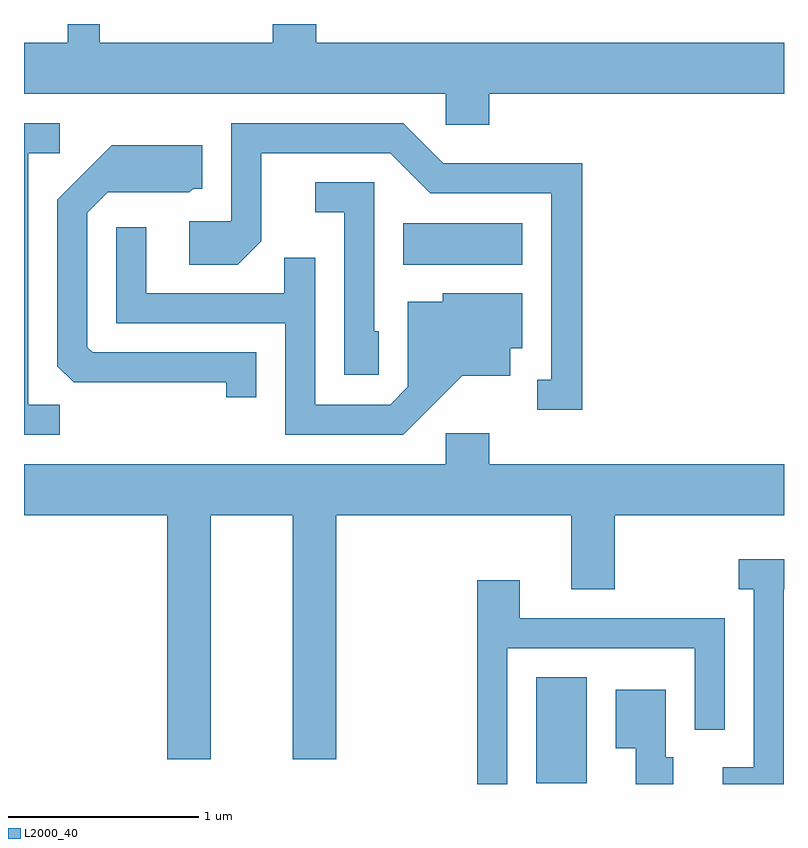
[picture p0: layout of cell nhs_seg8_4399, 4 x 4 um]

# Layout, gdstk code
import gdstk
lib = gdstk.Library(unit=1e-6, precision=1e-09)
def R(c, l, rs):  # rectangles x0, y0, x1, y1
    for r in rs: c.add(gdstk.rectangle(r[:2], r[2:], *l))
def P(c, l, *ps):  # polygons
    for p in ps: c.add(gdstk.Polygon(p, *l))
L2000_40 = (2000, 40)

nhs_seg8_4399 = lib.new_cell('nhs_seg8_4399')
R(nhs_seg8_4399, L2000_40, [(320.306,1828.346,320.574,1828.904), (319.606,1831.076,320.234,1831.294)])
P(nhs_seg8_4399, L2000_40, [(319.831,1831.811),(320.059,1831.811),(320.059,1831.976),(321.611,1831.976),(321.611,1832.244),(319.149,1832.244),(319.149,1832.342),(318.921,1832.342),(318.921,1832.244),(318.009,1832.244),(318.009,1832.342),(317.841,1832.342),(317.841,1832.244),(317.611,1832.244),(317.611,1831.976),(319.831,1831.976)],
  [(320.549,1831.609),(319.817,1831.609),(319.607,1831.819),(318.701,1831.819),(318.701,1831.304),(318.481,1831.304),(318.481,1831.076),(318.737,1831.076),(318.859,1831.199),(318.859,1831.661),(319.539,1831.661),(319.749,1831.451),(320.386,1831.451),(320.386,1830.469),(320.313,1830.469),(320.313,1830.311),(320.549,1830.311)],
  [(317.798,1830.339),(317.634,1830.339),(317.634,1831.661),(317.798,1831.661),(317.798,1831.819),(317.611,1831.819),(317.611,1830.181),(317.798,1830.181)],
  [(318.834,1830.614),(317.972,1830.614),(317.944,1830.642),(317.944,1831.349),(318.052,1831.456),(318.482,1831.456),(318.502,1831.476),(318.549,1831.476),(318.549,1831.704),(318.074,1831.704),(317.786,1831.417),(317.786,1830.542),(317.872,1830.456),(318.676,1830.456),(318.676,1830.378),(318.834,1830.378)],
  [(319.479,1830.724),(319.454,1830.724),(319.454,1831.509),(319.143,1831.509),(319.143,1831.351),(319.296,1831.351),(319.296,1830.496),(319.479,1830.496)],
  [(319.917,1830.491),(320.169,1830.491),(320.169,1830.636),(320.234,1830.636),(320.234,1830.924),(319.816,1830.924),(319.816,1830.879),(319.631,1830.879),(319.631,1830.432),(319.539,1830.339),(319.144,1830.339),(319.144,1831.113),(318.981,1831.113),(318.981,1830.924),(318.254,1830.924),(318.254,1831.273),(318.096,1831.273),(318.096,1830.766),(318.986,1830.766),(318.986,1830.181),(319.607,1830.181)],
  [(318.594,1829.756),(319.026,1829.756),(319.026,1828.471),(319.254,1828.471),(319.254,1829.756),(320.491,1829.756),(320.491,1829.366),(320.719,1829.366),(320.719,1829.756),(321.611,1829.756),(321.611,1830.024),(320.059,1830.024),(320.059,1830.189),(319.831,1830.189),(319.831,1830.024),(317.611,1830.024),(317.611,1829.756),(318.366,1829.756),(318.366,1828.471),(318.594,1828.471)],
  [(321.609,1829.366),(321.611,1829.366),(321.611,1829.524),(321.373,1829.524),(321.373,1829.366),(321.451,1829.366),(321.451,1828.429),(321.288,1828.429),(321.288,1828.342),(321.609,1828.342)],
  [(320.154,1829.056),(321.141,1829.056),(321.141,1828.628),(321.299,1828.628),(321.299,1829.214),(320.219,1829.214),(320.219,1829.414),(319.996,1829.414),(319.996,1828.342),(320.154,1828.342)],
  [(321.029,1828.484),(320.989,1828.484),(320.989,1828.839),(320.726,1828.839),(320.726,1828.531),(320.831,1828.531),(320.831,1828.342),(321.029,1828.342)])

lib.write_gds('nhs_seg8_4399.gds')
